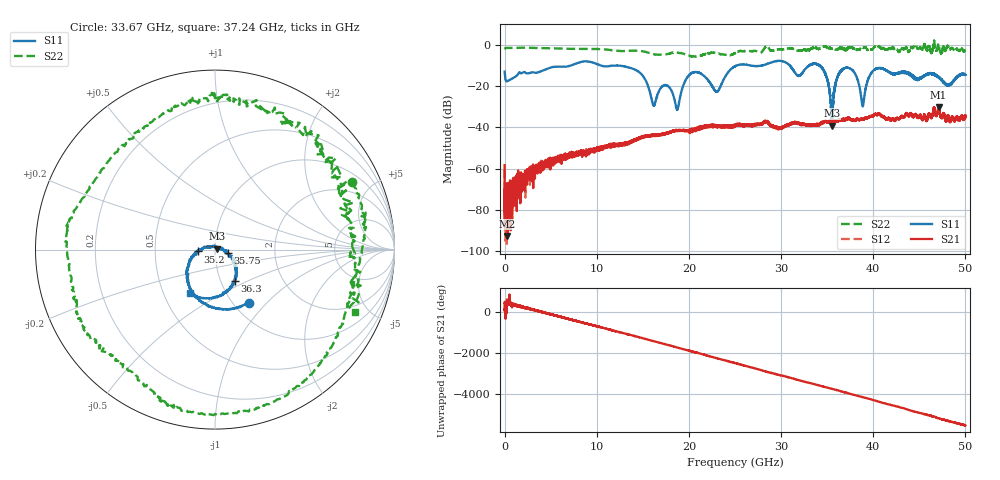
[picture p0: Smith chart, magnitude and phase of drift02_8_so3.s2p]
!Created with skrf (http://scikit-rf.org).
# Hz S RI R 50.0
!freq ReS11 ImS11 ReS21 ImS21 ReS12 ImS12 ReS22 ImS22
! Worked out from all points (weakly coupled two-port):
!   10001 points, 300 kHz to 50 GHz, reference 50 ohm
!   highest |S21| = -30.08 dB at 47.09 GHz (marker M1); lowest = -92.6 dB at 310.3 MHz (marker M2)
!   lowest |S11| = -39.1 dB at 35.52 GHz (marker M3), VSWR 1.02, Z = 51 + j0.473 ohm
!   |S11| at or under -10 dB: start of sweep to 7.178 GHz; 12.33 GHz to 25.16 GHz (12.84 GHz wide, 68.5 % of centre); 34.2 GHz to end of sweep (the widest 3 of 17)
!   |S22| runs from -5.7 to 2.2 dB; largest |S21 - S12| = 0.0034
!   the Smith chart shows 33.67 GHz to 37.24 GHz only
!   S11 on the Smith chart (normalised r, x): 33.67 GHz: 1.17, -0.79; 35.2 GHz: 0.83, -0.02; 35.75 GHz: 1.15, -0.04; 36.3 GHz: 1.16, -0.43; 37.24 GHz: 0.68, -0.35
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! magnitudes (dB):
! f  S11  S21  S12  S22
! 300 kHz  -12.9  -58.3  -60.5  -2.1
! 310.3 MHz  -17.6  -92.6  -75.2  -1.4
! 8.335 GHz  -8.2  -51.4  -52.0  -1.9
! 14.02 GHz  -11.7  -46.0  -46.1  -2.8
! 16.14 GHz  -29.3  -43.9  -43.7  -4.4
! 16.67 GHz  -23.2  -43.5  -44.0  -4.7
! 18.73 GHz  -31.4  -41.4  -41.4  -3.7
! 20.24 GHz  -13.8  -41.5  -41.8  -5.4
! 23.03 GHz  -22.7  -39.1  -39.1  -4.1
! 25 GHz  -10.3  -39.3  -39.0  -3.9
! 33.34 GHz  -9.4  -38.9  -38.9  -1.6
! 33.67 GHz  -9.1  -38.4  -38.7  -1.4
! 35.2 GHz  -20.4  -37.0  -37.0  -1.6
! 35.52 GHz  -39.1  -36.8  -36.7  -1.7
! 35.75 GHz  -22.8  -37.2  -36.7  -1.8
! 36.3 GHz  -13.6  -36.5  -36.9  -1.7
! 37.24 GHz  -11.1  -35.4  -35.3  -1.4
! 38.86 GHz  -29.7  -36.0  -36.0  -1.3
! 39.96 GHz  -12.7  -34.5  -34.7  -1.9
! 41.67 GHz  -13.0  -35.8  -35.7  -1.8
! 47.09 GHz  -15.7  -30.1  -30.7  0.7
! 50 GHz  -14.5  -34.5  -34.3  -2.6
